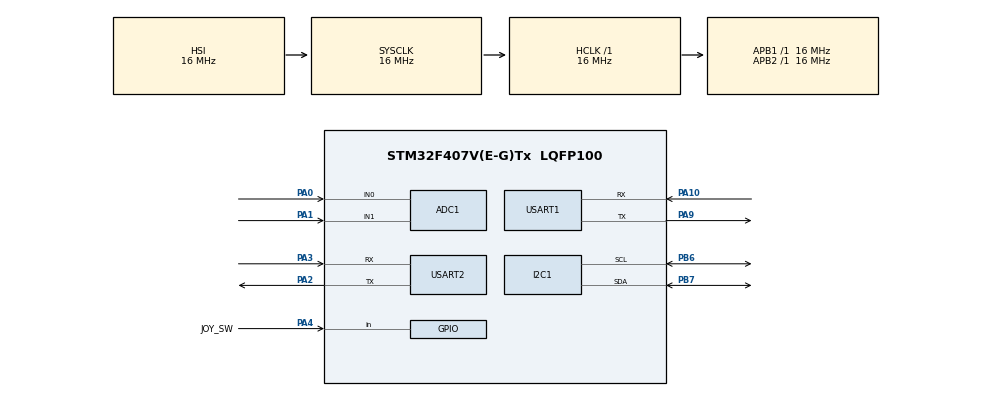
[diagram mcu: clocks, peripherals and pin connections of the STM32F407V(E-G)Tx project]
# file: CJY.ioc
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ADC1.Channel-0\#ChannelRegularConversion=ADC_CHANNEL_0
ADC1.Channel-1\#ChannelRegularConversion=ADC_CHANNEL_1
ADC1.EOCSelection=ADC_EOC_SINGLE_CONV
ADC1.NbrOfConversionFlag=2
ADC1.Rank-0\#ChannelRegularConversion=1
ADC1.Rank-1\#ChannelRegularConversion=2
ADC1.SamplingTime-0\#ChannelRegularConversion=ADC_SAMPLETIME_84CYCLES
ADC1.SamplingTime-1\#ChannelRegularConversion=ADC_SAMPLETIME_84CYCLES
ADC1.ScanConvMode=ENABLE
ADC1.master=1
Dma.Request0=USART2_RX
Dma.USART2_RX.0.Channel=DMA_CHANNEL_4
Dma.USART2_RX.0.Direction=DMA_PERIPH_TO_MEMORY
Dma.USART2_RX.0.FIFOMode=DMA_FIFOMODE_DISABLE
Dma.USART2_RX.0.Instance=DMA1_Stream5
Dma.USART2_RX.0.MemDataAlignment=DMA_MDATAALIGN_BYTE
Dma.USART2_RX.0.MemInc=DMA_MINC_ENABLE
Dma.USART2_RX.0.Mode=DMA_CIRCULAR
Dma.USART2_RX.0.PeriphDataAlignment=DMA_PDATAALIGN_BYTE
Dma.USART2_RX.0.PeriphInc=DMA_PINC_DISABLE
Dma.USART2_RX.0.Priority=DMA_PRIORITY_HIGH
FREERTOS.Tasks01=TaskA,24,512,StartDefaultTask,Default,NULL,Dynamic,NULL,NULL;TaskB,24,512,StartTask02,Default,NULL,Dynamic,NULL,NULL
I2C1.I2C_Mode=I2C_Fast
Mcu.Family=STM32F4
Mcu.Name=STM32F407V(E-G)Tx
Mcu.Package=LQFP100
NVIC.DMA1_Stream5_IRQn=true\:6\:0\:false\:false\:true\:false\:true\:true
NVIC.PriorityGroup=NVIC_PRIORITYGROUP_4
NVIC.TIM6_DAC_IRQn=true\:15\:0\:false\:false\:true\:false\:false\:true\:true
NVIC.TimeBase=TIM6_DAC_IRQn
NVIC.TimeBaseIP=TIM6
NVIC.USART2_IRQn=true\:6\:0\:false\:false\:true\:false\:false\:true\:true
PA0-WKUP.Mode=IN0
PA0-WKUP.Signal=ADC1_IN0
PA1.Mode=IN1
PA1.Signal=ADC1_IN1
PA10.Mode=Asynchronous
PA10.Signal=USART1_RX
PA2.GPIO_PuPd=GPIO_PULLUP
PA2.Mode=Asynchronous
PA2.Signal=USART2_TX
PA3.GPIO_PuPd=GPIO_PULLUP
PA3.Mode=Asynchronous
PA3.Signal=USART2_RX
PA4.GPIO_Label=JOY_SW
PA4.GPIO_PuPd=GPIO_PULLUP
PA4.Signal=GPIO_Input
PA9.Mode=Asynchronous
PA9.Signal=USART1_TX
PB6.Mode=I2C
PB6.Signal=I2C1_SCL
PB7.Mode=I2C
PB7.Signal=I2C1_SDA
PH0-OSC_IN.Mode=HSE-External-Oscillator
PH0-OSC_IN.Signal=RCC_OSC_IN
PH1-OSC_OUT.Mode=HSE-External-Oscillator
PH1-OSC_OUT.Signal=RCC_OSC_OUT
ProjectManager.HeapSize=0x200
ProjectManager.StackSize=0x400
ProjectManager.TargetToolchain=STM32CubeIDE
RCC.AHBFreq_Value=16000000
RCC.APB1Freq_Value=16000000
RCC.APB2Freq_Value=16000000
RCC.CortexFreq_Value=16000000
RCC.HSE_VALUE=25000000
RCC.HSI_VALUE=16000000
RCC.LSE_VALUE=32768
RCC.SYSCLKFreq_VALUE=16000000
RCC.VCOOutputFreq_Value=192000000
USART1.VirtualMode=VM_ASYNC
USART2.VirtualMode=VM_ASYNC
VP_FREERTOS_VS_CMSIS_V2.Mode=CMSIS_V2
VP_SYS_VS_tim6.Mode=TIM6
board=custom

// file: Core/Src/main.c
/* USER CODE BEGIN Header */
/**
  ******************************************************************************
  * @file           : main.c
  * @brief          : Main program body
  ******************************************************************************
  * @attention
  *
  * Copyright (c) 2026 STMicroelectronics.
  * All rights reserved.
  *
  * This software is licensed under terms that can be found in the LICENSE file
  * in the root directory of this software component.
  * If no LICENSE file comes with this software, it is provided AS-IS.
  *
  ******************************************************************************
  */
/* USER CODE END Header */
#include "main.h"
#include "cmsis_os.h"

/* USER CODE BEGIN Includes */
#include <stdio.h>
#include <string.h>
#include "ssd1306.h"
#include "sensor_protocol.h"
#include "uart_session.h"
#include "FreeRTOS.h"
/* USER CODE END Includes */

ADC_HandleTypeDef hadc1;

I2C_HandleTypeDef hi2c1;

UART_HandleTypeDef huart1;
UART_HandleTypeDef huart2;
DMA_HandleTypeDef hdma_usart2_rx;

/* Definitions for TaskA */
osThreadId_t TaskAHandle;
const osThreadAttr_t TaskA_attributes = {
  .name = "TaskA",
  .stack_size = 512 * 4,
  .priority = (osPriority_t) osPriorityNormal,
};
/* Definitions for TaskB */
osThreadId_t TaskBHandle;
const osThreadAttr_t TaskB_attributes = {
  .name = "TaskB",
  .stack_size = 512 * 4,
  .priority = (osPriority_t) osPriorityNormal,
};
/* USER CODE BEGIN PV */
osMutexId_t uartMutexHandle;
const osMutexAttr_t uartMutex_attributes = {
  .name = "uartMutex"
};
osMutexId_t joyMutexHandle;
const osMutexAttr_t joyMutex_attributes = {
  .name = "joyMutex"
};
typedef struct {
  uint16_t x;
  uint16_t y;
  uint8_t direction;
  uint8_t sw;
} JoySample;
JoySample g_joy = {2048, 2048, SP_JOY_CENTER, 0};
/* USER CODE END PV */

void SystemClock_Config(void);
static void MX_GPIO_Init(void);
static void MX_ADC1_Init(void);
static void MX_I2C1_Init(void);
static void MX_DMA_Init(void);
static void MX_USART1_UART_Init(void);
static void MX_USART2_UART_Init(void);
void StartDefaultTask(void *argument);
void StartTask02(void *argument);

/* USER CODE BEGIN PFP */
static int ADC_ReadJoystick(uint16_t samples[2]);
/* USER CODE END PFP */

/* USER CODE BEGIN 0 */
static void UartPrint(const char *s)
{
  if (osMutexAcquire(uartMutexHandle, osWaitForever) == osOK)
  {
    const uint16_t len = (uint16_t)strlen(s);
    HAL_UART_Transmit(&huart1, (uint8_t *)s, len, 100);
    osMutexRelease(uartMutexHandle);
  }
}
/* USER CODE END 0 */

int main(void)
{

  /* MCU Configuration--------------------------------------------------------*/

  /* Reset of all peripherals, Initializes the Flash interface and the Systick. */
  HAL_Init();

  /* Configure the system clock */
  SystemClock_Config();

  /* Initialize all configured peripherals */
  MX_GPIO_Init();
  MX_DMA_Init();
  MX_ADC1_Init();
  MX_I2C1_Init();
  MX_USART1_UART_Init();
  MX_USART2_UART_Init();
  /* USER CODE BEGIN 2 */
  {
    const char boot[] = "boot\r\n";
    HAL_UART_Transmit(&huart1, (uint8_t *)boot, sizeof(boot) - 1, 100);
  }
  if (SSD1306_Init(&hi2c1) != HAL_OK)
  {
    const char fail[] = "oled fail\r\n";
    HAL_UART_Transmit(&huart1, (uint8_t *)fail, sizeof(fail) - 1, 100);
  }
  else
  {
    const char ok[] = "oled ok\r\n";
    HAL_UART_Transmit(&huart1, (uint8_t *)ok, sizeof(ok) - 1, 100);
    SSD1306_Fill(SSD1306_WHITE);
    SSD1306_FillRect(0, 0, 128, 11, SSD1306_BLACK);
    SSD1306_DrawText(3, 2, "ENV SENSOR", 1, SSD1306_WHITE);
    SSD1306_DrawText(14, 27, "STM32F407 READY", 1, SSD1306_BLACK);
    SSD1306_Update();
  }
  {
    const char link[] = "USART2->ESP32B V1\r\n";
    HAL_UART_Transmit(&huart1, (uint8_t *)link, sizeof(link) - 1, 100);
  }
  /* USER CODE END 2 */

  /* Init scheduler */
  osKernelInitialize();

  /* USER CODE BEGIN RTOS_MUTEX */
  uartMutexHandle = osMutexNew(&uartMutex_attributes);
  joyMutexHandle = osMutexNew(&joyMutex_attributes);
  if (uartMutexHandle == NULL || joyMutexHandle == NULL)
  {
    Error_Handler();
  }
  /* USER CODE END RTOS_MUTEX */

  /* Create the thread(s) */
  /* creation of TaskA */
  TaskAHandle = osThreadNew(StartDefaultTask, NULL, &TaskA_attributes);

  /* creation of TaskB */
  TaskBHandle = osThreadNew(StartTask02, NULL, &TaskB_attributes);

  /* Start scheduler */
  osKernelStart();

  /* We should never get here as control is now taken by the scheduler */

  /* Infinite loop */
  while (1)
  {

  }
}

void SystemClock_Config(void)
{
  RCC_OscInitTypeDef RCC_OscInitStruct = {0};
  RCC_ClkInitTypeDef RCC_ClkInitStruct = {0};

  /** Configure the main internal regulator output voltage
  */
  __HAL_RCC_PWR_CLK_ENABLE();
  __HAL_PWR_VOLTAGESCALING_CONFIG(PWR_REGULATOR_VOLTAGE_SCALE1);

  /** Initializes the RCC Oscillators according to the specified parameters
  * in the RCC_OscInitTypeDef structure.
  */
  RCC_OscInitStruct.OscillatorType = RCC_OSCILLATORTYPE_HSI;
  RCC_OscInitStruct.HSIState = RCC_HSI_ON;
  RCC_OscInitStruct.HSICalibrationValue = RCC_HSICALIBRATION_DEFAULT;
  RCC_OscInitStruct.PLL.PLLState = RCC_PLL_NONE;
  if (HAL_RCC_OscConfig(&RCC_OscInitStruct) != HAL_OK)
  {
    Error_Handler();
  }

  /** Initializes the CPU, AHB and APB buses clocks
  */
  RCC_ClkInitStruct.ClockType = RCC_CLOCKTYPE_HCLK|RCC_CLOCKTYPE_SYSCLK
                              |RCC_CLOCKTYPE_PCLK1|RCC_CLOCKTYPE_PCLK2;
  RCC_ClkInitStruct.SYSCLKSource = RCC_SYSCLKSOURCE_HSI;
  RCC_ClkInitStruct.AHBCLKDivider = RCC_SYSCLK_DIV1;
  RCC_ClkInitStruct.APB1CLKDivider = RCC_HCLK_DIV1;
  RCC_ClkInitStruct.APB2CLKDivider = RCC_HCLK_DIV1;

  if (HAL_RCC_ClockConfig(&RCC_ClkInitStruct, FLASH_LATENCY_0) != HAL_OK)
  {
    Error_Handler();
  }
}

static void MX_DMA_Init(void)
{
  __HAL_RCC_DMA1_CLK_ENABLE();
  /* Same preemption priority as USART2: serialize receive cursor updates. */
  HAL_NVIC_SetPriority(DMA1_Stream5_IRQn, 6, 0);
  HAL_NVIC_EnableIRQ(DMA1_Stream5_IRQn);
}

static void MX_ADC1_Init(void)
{

  ADC_ChannelConfTypeDef sConfig = {0};

  /** Configure the global features of the ADC (Clock, Resolution, Data
  * Alignment and number of conversion)
  */
  hadc1.Instance = ADC1;
  hadc1.Init.ClockPrescaler = ADC_CLOCK_SYNC_PCLK_DIV2;
  hadc1.Init.Resolution = ADC_RESOLUTION_12B;
  hadc1.Init.ScanConvMode = ENABLE;
  hadc1.Init.ContinuousConvMode = DISABLE;
  hadc1.Init.DiscontinuousConvMode = DISABLE;
  hadc1.Init.ExternalTrigConvEdge = ADC_EXTERNALTRIGCONVEDGE_NONE;
  hadc1.Init.ExternalTrigConv = ADC_SOFTWARE_START;
  hadc1.Init.DataAlign = ADC_DATAALIGN_RIGHT;
  hadc1.Init.NbrOfConversion = 2;
  hadc1.Init.DMAContinuousRequests = DISABLE;
  hadc1.Init.EOCSelection = ADC_EOC_SINGLE_CONV;
  if (HAL_ADC_Init(&hadc1) != HAL_OK)
  {
    Error_Handler();
  }

  /** Configure for the selected ADC regular channel its corresponding rank
  * in the sequencer and its sample time.
  */
  sConfig.Channel = ADC_CHANNEL_0;
  sConfig.Rank = 1;
  sConfig.SamplingTime = ADC_SAMPLETIME_84CYCLES;
  if (HAL_ADC_ConfigChannel(&hadc1, &sConfig) != HAL_OK)
  {
    Error_Handler();
  }

  /** Configure for the selected ADC regular channel its corresponding rank
  * in the sequencer and its sample time.
  */
  sConfig.Channel = ADC_CHANNEL_1;
  sConfig.Rank = 2;
  if (HAL_ADC_ConfigChannel(&hadc1, &sConfig) != HAL_OK)
  {
    Error_Handler();
  }

}

static void MX_I2C1_Init(void)
{

  hi2c1.Instance = I2C1;
  hi2c1.Init.ClockSpeed = 400000;
  hi2c1.Init.DutyCycle = I2C_DUTYCYCLE_2;
  hi2c1.Init.OwnAddress1 = 0;
  hi2c1.Init.AddressingMode = I2C_ADDRESSINGMODE_7BIT;
  hi2c1.Init.DualAddressMode = I2C_DUALADDRESS_DISABLE;
  hi2c1.Init.OwnAddress2 = 0;
  hi2c1.Init.GeneralCallMode = I2C_GENERALCALL_DISABLE;
  hi2c1.Init.NoStretchMode = I2C_NOSTRETCH_DISABLE;
  if (HAL_I2C_Init(&hi2c1) != HAL_OK)
  {
    Error_Handler();
  }

}

static void MX_USART1_UART_Init(void)
{

  huart1.Instance = USART1;
  huart1.Init.BaudRate = 115200;
  huart1.Init.WordLength = UART_WORDLENGTH_8B;
  huart1.Init.StopBits = UART_STOPBITS_1;
  huart1.Init.Parity = UART_PARITY_NONE;
  huart1.Init.Mode = UART_MODE_TX_RX;
  huart1.Init.HwFlowCtl = UART_HWCONTROL_NONE;
  huart1.Init.OverSampling = UART_OVERSAMPLING_16;
  if (HAL_UART_Init(&huart1) != HAL_OK)
  {
    Error_Handler();
  }

}

static void MX_USART2_UART_Init(void)
{

  huart2.Instance = USART2;
  huart2.Init.BaudRate = 115200;
  huart2.Init.WordLength = UART_WORDLENGTH_8B;
  huart2.Init.StopBits = UART_STOPBITS_1;
  huart2.Init.Parity = UART_PARITY_NONE;
  huart2.Init.Mode = UART_MODE_TX_RX;
  huart2.Init.HwFlowCtl = UART_HWCONTROL_NONE;
  huart2.Init.OverSampling = UART_OVERSAMPLING_16;
  if (HAL_UART_Init(&huart2) != HAL_OK)
  {
    Error_Handler();
  }

}

static void MX_GPIO_Init(void)
{
  GPIO_InitTypeDef GPIO_InitStruct = {0};

  /* GPIO Ports Clock Enable */
  __HAL_RCC_GPIOH_CLK_ENABLE();
  __HAL_RCC_GPIOA_CLK_ENABLE();
  __HAL_RCC_GPIOB_CLK_ENABLE();

  /*Configure GPIO pin : JOY_SW_Pin */
  GPIO_InitStruct.Pin = JOY_SW_Pin;
  GPIO_InitStruct.Mode = GPIO_MODE_INPUT;
  GPIO_InitStruct.Pull = GPIO_PULLUP;
  HAL_GPIO_Init(JOY_SW_GPIO_Port, &GPIO_InitStruct);

}

/* USER CODE BEGIN 4 */
static int ADC_ReadJoystick(uint16_t samples[2])
{
  if (HAL_ADC_Start(&hadc1) != HAL_OK)
  {
    return 0;
  }

  for (uint32_t i = 0; i < 2U; ++i)
  {
    if (HAL_ADC_PollForConversion(&hadc1, 10) != HAL_OK)
    {
      HAL_ADC_Stop(&hadc1);
      return 0;
    }
    samples[i] = (uint16_t)HAL_ADC_GetValue(&hadc1);
  }

  HAL_ADC_Stop(&hadc1);
  return 1;
}

#define JOY_CENTER   2048
#define JOY_DEADZONE 400   /* 中心附近晃动忽略 */

static uint16_t JoyFilter(uint16_t prev, uint16_t sample)
{
  /* 简单低通：新值占 1/4，旧值占 3/4，减少抖动 */
  return (uint16_t)((prev * 3U + sample) / 4U);
}

static uint8_t JoyDirCode(uint16_t x, uint16_t y)
{
  const int dx = (int)x - JOY_CENTER;
  const int dy = (int)y - JOY_CENTER;
  const int ax = (dx < 0) ? -dx : dx;
  const int ay = (dy < 0) ? -dy : dy;

  if (ax < JOY_DEADZONE && ay < JOY_DEADZONE)
  {
    return SP_JOY_CENTER;
  }

  if (ax >= ay)
  {
    return (dx > 0) ? SP_JOY_RIGHT : SP_JOY_LEFT;
  }
  return (dy > 0) ? SP_JOY_DOWN : SP_JOY_UP;
}

static const char *JoyDirName(uint8_t code)
{
  switch (code)
  {
    case SP_JOY_LEFT: return "LEFT";
    case SP_JOY_RIGHT: return "RIGHT";
    case SP_JOY_UP: return "UP";
    case SP_JOY_DOWN: return "DOWN";
    default: return "CENTER";
  }
}
static void OledCenteredText(int16_t left, int16_t width, int16_t y, const char *text)
{
  const int16_t textWidth = (int16_t)SSD1306_TextWidth(text, 1);
  SSD1306_DrawText((int16_t)(left + (width - textWidth) / 2), y, text, 1, SSD1306_BLACK);
}

static void OledSensorValue(int16_t left, const char *text)
{
  const int16_t width = (int16_t)SSD1306_NumberWidth(text);
  if (width <= 60)
    SSD1306_DrawNumber((int16_t)(left + (64 - width) / 2), 24, text, SSD1306_BLACK);
  else
    OledCenteredText(left, 64, 27, text);
}

static void OledJoystickIcon(uint8_t direction)
{
  const int16_t cx = 9;
  const int16_t cy = 60;
  if (direction == SP_JOY_CENTER)
  {
    SSD1306_FillRect(cx - 1, cy - 3, 3, 1, SSD1306_WHITE);
    SSD1306_FillRect(cx - 1, cy + 3, 3, 1, SSD1306_WHITE);
    SSD1306_FillRect(cx - 3, cy - 1, 1, 3, SSD1306_WHITE);
    SSD1306_FillRect(cx + 3, cy - 1, 1, 3, SSD1306_WHITE);
    SSD1306_DrawPixel(cx - 2, cy - 2, SSD1306_WHITE);
    SSD1306_DrawPixel(cx + 2, cy - 2, SSD1306_WHITE);
    SSD1306_DrawPixel(cx - 2, cy + 2, SSD1306_WHITE);
    SSD1306_DrawPixel(cx + 2, cy + 2, SSD1306_WHITE);
    SSD1306_DrawPixel(cx, cy, SSD1306_WHITE);
    return;
  }
  const int16_t dx = direction == SP_JOY_LEFT ? -1 : direction == SP_JOY_RIGHT ? 1 : 0;
  const int16_t dy = direction == SP_JOY_UP ? -1 : direction == SP_JOY_DOWN ? 1 : 0;
  for (int16_t step = -3; step <= 3; ++step)
    SSD1306_DrawPixel((int16_t)(cx + step * dx), (int16_t)(cy + step * dy), SSD1306_WHITE);
  for (int16_t step = 1; step <= 3; ++step)
  {
    const int16_t tipX = (int16_t)(cx + (3 - step) * dx);
    const int16_t tipY = (int16_t)(cy + (3 - step) * dy);
    SSD1306_DrawPixel((int16_t)(tipX + step * dy), (int16_t)(tipY - step * dx), SSD1306_WHITE);
    SSD1306_DrawPixel((int16_t)(tipX - step * dy), (int16_t)(tipY + step * dx), SSD1306_WHITE);
  }
}

static void DrawSensorAndJoystick(const JoySample *joy, const SpLink_SensorSnapshot *sensor)
{
  char line[48];
  const char *status = "ONLINE";
  if (!sensor->has_session) status = "WAIT LINK";
  else if (!sensor->link_alive) status = "LINK LOST";
  else if (!sensor->wifi_connected) status = "WIFI OFF";
  else if (!sensor->tcp_connected) status = "WAIT TCP";
  else if (!sensor->valid) status = sensor->has_data ? "STALE" : "WAIT DATA";

  SSD1306_Fill(SSD1306_WHITE);
  SSD1306_FillRect(0, 0, 128, 11, SSD1306_BLACK);
  SSD1306_DrawText(3, 2, "ENV SENSOR", 1, SSD1306_WHITE);
  SSD1306_FillRect(66, 4, 3, 3, SSD1306_WHITE);
  if (!sensor->valid) SSD1306_DrawPixel(67, 5, SSD1306_BLACK);
  SSD1306_DrawText((int16_t)(124 - SSD1306_TextWidth(status, 1)), 2,
                   status, 1, SSD1306_WHITE);

  OledCenteredText(0, 64, 15, "TEMP C");
  OledCenteredText(64, 64, 15, "HUM %");
  SSD1306_FillRect(64, 14, 1, 23, SSD1306_BLACK);
  SSD1306_FillRect(4, 40, 120, 1, SSD1306_BLACK);
  SSD1306_DrawText(4, 46, "DISTANCE", 1, SSD1306_BLACK);
  SSD1306_DrawText(114, 48, "CM", 1, SSD1306_BLACK);
  if (sensor->valid)
  {
    const int32_t temperature = sensor->temperature_centi_c;
    const uint32_t magnitude = (uint32_t)(temperature < 0 ? -temperature : temperature);
    snprintf(line, sizeof(line), "%s%lu.%02lu", temperature < 0 ? "-" : "",
             (unsigned long)(magnitude / 100u), (unsigned long)(magnitude % 100u));
    OledSensorValue(0, line);
    snprintf(line, sizeof(line), "%u.%02u", (unsigned)(sensor->humidity_centi_percent / 100u),
             (unsigned)(sensor->humidity_centi_percent % 100u));
    OledSensorValue(64, line);
    snprintf(line, sizeof(line), "%u", (unsigned)sensor->distance_cm);
  }
  else
  {
    OledSensorValue(0, "--");
    OledSensorValue(64, "--");
    snprintf(line, sizeof(line), "--");
  }
  SSD1306_DrawNumber((int16_t)(110 - SSD1306_NumberWidth(line)), 43, line, SSD1306_BLACK);

  SSD1306_FillRect(0, 56, 128, 8, SSD1306_BLACK);
  OledJoystickIcon(joy->direction);
  snprintf(line, sizeof(line), "X%u Y%u", (unsigned)joy->x, (unsigned)joy->y);
  SSD1306_DrawText(20, 57, line, 1, SSD1306_WHITE);
  if (joy->sw) SSD1306_FillRect(99, 56, 29, 8, SSD1306_WHITE);
  snprintf(line, sizeof(line), "SW:%u", (unsigned)joy->sw);
  SSD1306_DrawText(102, 57, line, 1, joy->sw ? SSD1306_BLACK : SSD1306_WHITE);
  SSD1306_Update();
}
/* USER CODE END 4 */

void StartDefaultTask(void *argument)
{
  /* USER CODE BEGIN 5 */
  char line[48];
  uint16_t fx = JOY_CENTER;
  uint16_t fy = JOY_CENTER;
  uint16_t adcSamples[2] = {JOY_CENTER, JOY_CENTER};

  for (;;)
  {
    if (ADC_ReadJoystick(adcSamples))
    {
      fx = JoyFilter(fx, adcSamples[0]);
      fy = JoyFilter(fy, adcSamples[1]);
    }
    const unsigned sw =
        (HAL_GPIO_ReadPin(JOY_SW_GPIO_Port, JOY_SW_Pin) == GPIO_PIN_RESET) ? 1U : 0U;
    const uint8_t dir = JoyDirCode(fx, fy);

    const JoySample sample = {fx, fy, dir, (uint8_t)sw};
    if (osMutexAcquire(joyMutexHandle, osWaitForever) == osOK)
    {
      g_joy = sample;
      osMutexRelease(joyMutexHandle);
    }

    snprintf(line, sizeof(line), "X=%u Y=%u %s SW=%u\r\n",
             (unsigned)fx, (unsigned)fy, JoyDirName(dir), sw);
    UartPrint(line);

    SpLink_SensorSnapshot sensor;
    SpLink_GetSensorSnapshot(&sensor);
    DrawSensorAndJoystick(&sample, &sensor);

    osDelay(200);
  }
  /* USER CODE END 5 */
}

void StartTask02(void *argument)
{
  /* USER CODE BEGIN StartTask02 */
  char line[96];
  if (!SpLink_Init(&huart2))
  {
    UartPrint("UART session init/self-test FAILED\r\n");
    for (;;) osDelay(1000);
  }
  JoySample sample = {JOY_CENTER, JOY_CENTER, SP_JOY_CENTER, 0};
  UartPrint("USART2 DMA circular RX + IDLE; receive self-test PASS (8/8)\r\n");
  for (;;)
  {
    if (osMutexAcquire(joyMutexHandle, osWaitForever) == osOK)
    {
      sample = g_joy;
      osMutexRelease(joyMutexHandle);
    }
    const int acked = SpLink_SendJoystick(sample.x, sample.y,
                                          sample.direction, sample.sw);
    const uint64_t current_session = SpLink_GetSession();
    snprintf(line, sizeof(line), "TX session=%08lx%08lx seq=%lu %s\r\n",
             (unsigned long)(current_session >> 32), (unsigned long)current_session,
             (unsigned long)SpLink_GetLastSequence(), acked ? "ACK" : "NOACK");
    UartPrint(line);
    g_spLinkRxStats.task_a_stack_free_bytes = osThreadGetStackSpace(TaskAHandle);
    g_spLinkRxStats.free_heap_bytes = xPortGetFreeHeapSize();
    g_spLinkRxStats.minimum_free_heap_bytes = xPortGetMinimumEverFreeHeapSize();
    for (unsigned idle = 0; idle < 20; ++idle)
    {
      SpLink_Poll();
      osDelay(10);
    }
  }
  /* USER CODE END StartTask02 */
}

void HAL_TIM_PeriodElapsedCallback(TIM_HandleTypeDef *htim)
{
  if (htim->Instance == TIM6)
  {
    HAL_IncTick();
  }
}

void Error_Handler(void)
{
  /* USER CODE BEGIN Error_Handler_Debug */
  const char msg[] = "ERROR_HANDLER\r\n";
  HAL_UART_Transmit(&huart1, (uint8_t *)msg, sizeof(msg) - 1, 100);
  __disable_irq();
  while (1)
  {
  }
  /* USER CODE END Error_Handler_Debug */
}
